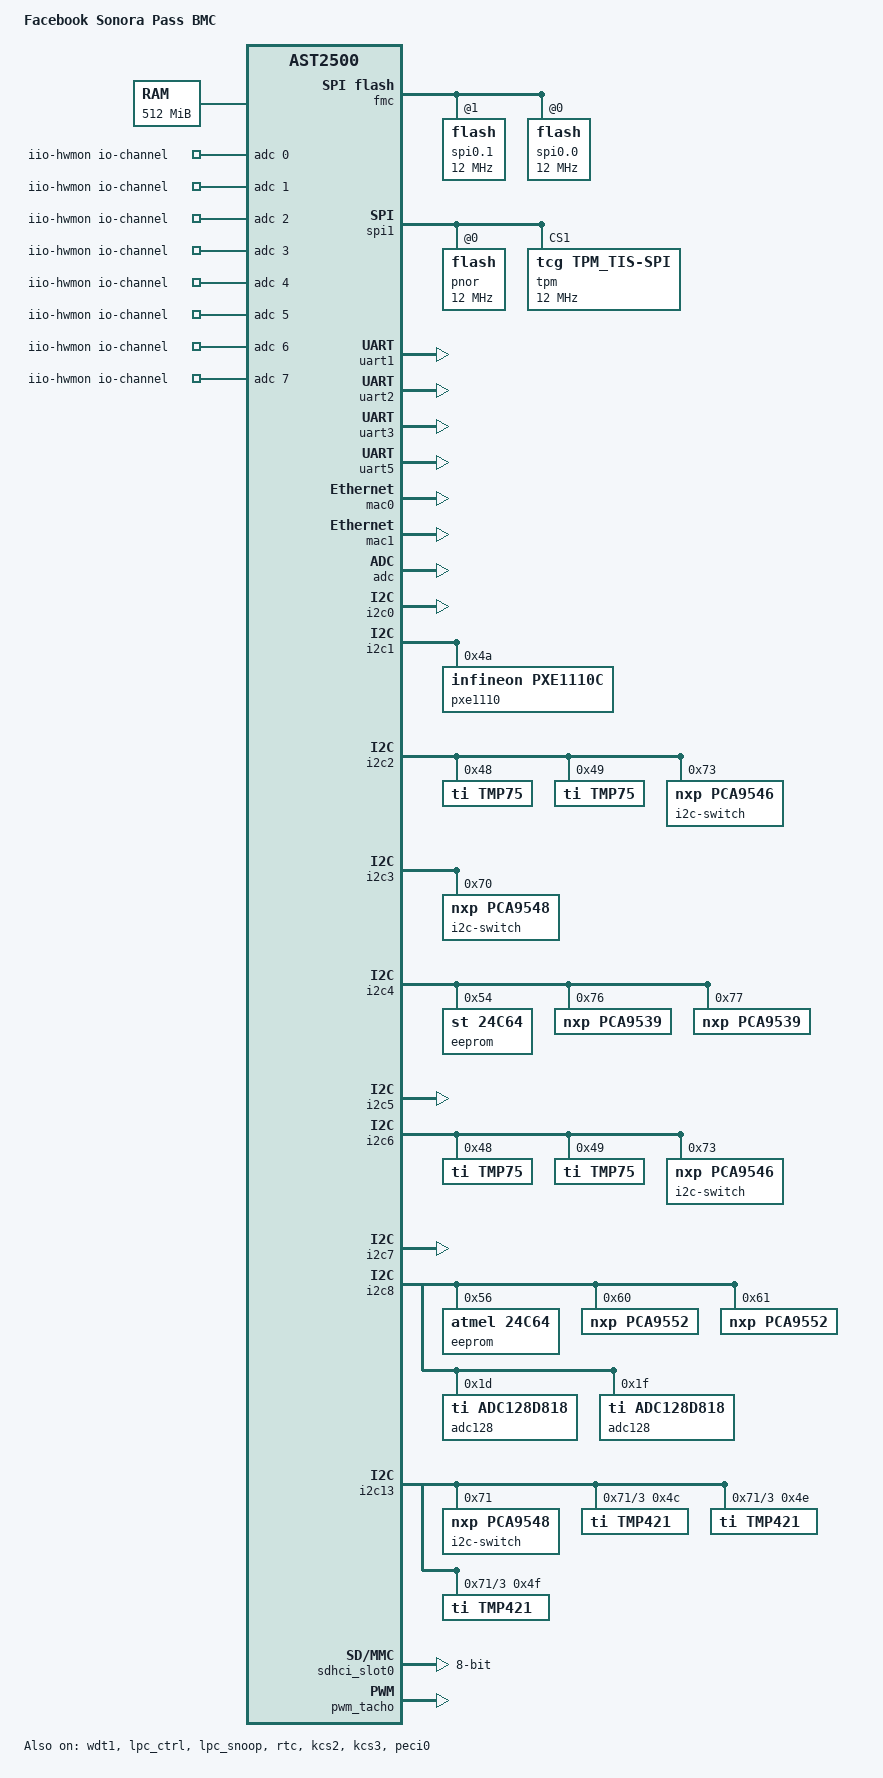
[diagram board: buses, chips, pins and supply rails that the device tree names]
// SPDX-License-Identifier: GPL-2.0+
// Copyright (c) 2018 Facebook Inc.
/dts-v1/;

#include "aspeed-g5.dtsi"
#include <dt-bindings/leds/leds-pca955x.h>

/ {
	model = "Facebook Sonora Pass BMC";
	compatible = "facebook,sonorapass-bmc", "aspeed,ast2500";

	aliases {
		/*
		 * Override the default serial aliases to avoid breaking
		 * the legacy applications.
		 */
		serial0 = &uart5;
		serial1 = &uart1;

		i2c16 = &imux16;
		i2c17 = &imux17;
		i2c18 = &imux18;
		i2c19 = &imux19;
		i2c20 = &imux20;
		i2c21 = &imux21;
		i2c22 = &imux22;
		i2c23 = &imux23;
		i2c24 = &imux24;
		i2c25 = &imux25;
		i2c26 = &imux26;
		i2c27 = &imux27;
		i2c28 = &imux28;
		i2c29 = &imux29;
		i2c30 = &imux30;
		i2c31 = &imux31;
		i2c32 = &imux32;
		i2c33 = &imux33;
		i2c34 = &imux34;
		i2c35 = &imux35;
	};

	chosen {
		stdout-path = &uart5;
		bootargs = "debug console=ttyS4,57600n8 root=/dev/ram rw";
	};

	memory@80000000 {
		reg = <0x80000000 0x20000000>;
	};

	iio-hwmon {
		compatible = "iio-hwmon";
		io-channels = <&adc 0>, <&adc 1>, <&adc 2>, <&adc 3>, <&adc 4>,
					<&adc 5>, <&adc 6>, <&adc 7>,<&adc 8>, <&adc 9>,
					<&adc 10>, <&adc 11>,<&adc 12>,<&adc 13>, <&adc 14>, <&adc 15>;
	};
};

&wdt1 {
	status = "okay";
	pinctrl-names = "default";
	pinctrl-0 = <&pinctrl_wdtrst1_default>;
	aspeed,reset-type = "soc";
	aspeed,external-signal;
	aspeed,ext-push-pull;
	aspeed,ext-active-high;
	aspeed,ext-pulse-duration = <256>;
};

&fmc {
	status = "okay";
	flash@0 {
		reg = < 1 >;
		status = "okay";
		m25p,fast-read;
		label = "spi0.1";
		spi-max-frequency = <12000000>;
#include "facebook-bmc-flash1-layout.dtsi"
	};
	flash@1 {
		reg = < 0 >;
		status = "okay";
		m25p,fast-read;
		label = "spi0.0";
		spi-max-frequency = <12000000>;
#include "facebook-bmc-pfr-flash0-layout.dtsi"
	};
};

&spi1 {
	status = "okay";

	compatible = "aspeed,ast2500-spi-master";

	pinctrl-names = "default";
	pinctrl-0 = <&pinctrl_spi1_default &pinctrl_spi1cs1_default>;

	flash@0 {
		status = "okay";
		m25p,fast-read;
		label = "pnor";
		spi-max-frequency = <12000000>;
	};
	tpm@1 {
		reg = < 1 >;
		compatible = "tcg,tpm_tis-spi";
		spi-max-frequency = <12000000>;
		status = "okay";
	};
};

&ibt {
	status = "disabled";
};

&lpc_ctrl {
	// Enable LPC clock
	status = "okay";
};

&lpc_snoop {
	status = "okay";
	snoop-ports = <0x80>;
};

&gpio {
	aspeed,skip-init-cmdsrc;
};

&rtc {
	status = "okay";
};

&uart1 {
	// Host Console
	resets = <>;
	status = "okay";
	pinctrl-names = "default";
	pinctrl-0 = <&pinctrl_txd1_default
		     &pinctrl_rxd1_default>;
};

&uart2 {
	// SOL Host Console
	resets = <>;
	status = "okay";
};

&uart3 {
	// SOL BMC Console
	status = "okay";
};

&uart5 {
	// BMC Console
	status = "okay";
};

&kcs2 {
	// BMC KCS channel 2
	status = "okay";
	kcs_addr = <0xca8>;
};

&kcs3 {
	// BMC KCS channel 3
	status = "okay";
	kcs_addr = <0xca2>;
};

&mac0 {
	status = "okay";
	no-hw-checksum;
	use-ncsi;
	ncsi-package = <2>;
	ncsi-channel = <2>;
	ncsi-rexmit = <1>;
};

&mac1 {
	status = "okay";
	no-hw-checksum;
	use-ncsi;
	ncsi-package = <2>;
	ncsi-channel = <2>;
	ncsi-rexmit = <1>;
};

&peci0 {
	status = "okay";
};

&adc {
	status = "okay";
};

&i2c0 {
	multi-master;
	status = "okay";
};

&i2c1 {
	status = "okay";
	pxe1110@4A {
		compatible = "infineon,pxe1110c";
		reg = <0x4a>;
	};
};

&i2c2 {
	multi-master;
	status = "okay";

	//AVA II card sensor
	tmp75@48 {
		compatible = "ti,tmp75";
		reg = <0x48>;
	};
	tmp75@49 {
		compatible = "ti,tmp75";
		reg = <0x49>;
	};

	i2c-switch@73 {
		compatible = "nxp,pca9546";
		#address-cells = <1>;
		#size-cells = <0>;
		reg = <0x73>;
		imux24: i2c@0 {
			#address-cells = <1>;
			#size-cells = <0>;
			reg = <0>;
		};
		imux25: i2c@1 {
			#address-cells = <1>;
			#size-cells = <0>;
			reg = <1>;
		};
		imux26: i2c@2 {
			#address-cells = <1>;
			#size-cells = <0>;
			reg = <2>;
		};
		imux27: i2c@3 {
			#address-cells = <1>;
			#size-cells = <0>;
			reg = <3>;
		};
	};
};

&i2c3 {
	status = "okay";
	i2c-switch@70 {
		compatible = "nxp,pca9548";
		#address-cells = <1>;
		#size-cells = <0>;
		reg = <0x70>;
		imux32: i2c@0 {
			#address-cells = <1>;
			#size-cells = <0>;
			reg = <0>;
		};
		imux33: i2c@1 {
			#address-cells = <1>;
			#size-cells = <0>;
			reg = <1>;
		};
		imux34: i2c@2 {
			#address-cells = <1>;
			#size-cells = <0>;
			reg = <2>;
		};
		imux35: i2c@3 {
			#address-cells = <1>;
			#size-cells = <0>;
			reg = <3>;
		};
	};
};

&i2c4 {
	status = "okay";
	eeprom@54 {
		compatible = "st,24c64";
		reg = <0x54>;
	};

	// I/O Expander
	pca9539@76 {
		compatible = "nxp,pca9539";
		reg = <0x76>;
	};
	pca9539@77 {
		compatible = "nxp,pca9539";
		reg = <0x77>;
	};
};

&i2c5 {
	multi-master;
	status = "okay";
};

&i2c6 {
	status = "okay";

	//AVA II card sensor
	tmp75@48 {
		compatible = "ti,tmp75";
		reg = <0x48>;
	};
	tmp75@49 {
		compatible = "ti,tmp75";
		reg = <0x49>;
	};

	i2c-switch@73 {
		compatible = "nxp,pca9546";
		#address-cells = <1>;
		#size-cells = <0>;
		reg = <0x73>;
		imux28: i2c@0 {
			#address-cells = <1>;
			#size-cells = <0>;
			reg = <0>;
		};
		imux29: i2c@1 {
			#address-cells = <1>;
			#size-cells = <0>;
			reg = <1>;
		};
		imux30: i2c@2 {
			#address-cells = <1>;
			#size-cells = <0>;
			reg = <2>;
		};
		imux31: i2c@3 {
			#address-cells = <1>;
			#size-cells = <0>;
			reg = <3>;
		};
	};
};

&i2c7 {
	status = "okay";
};

&i2c8 {
	status = "okay";
	//BSM FRU
	eeprom@56 {
		compatible = "atmel,24c64";
		reg = <0x56>;
	};

	pca9552@60 {
		compatible = "nxp,pca9552";
		reg = <0x60>;
		#address-cells = <1>;
		#size-cells = <0>;
		gpio-controller;
		#gpio-cells = <2>;

		// FM_FAN_POWER_LED_N
		led@0 {
			reg = <0>;
			type = <PCA955X_TYPE_GPIO>;
		};
		led@1 {
			reg = <1>;
			type = <PCA955X_TYPE_GPIO>;
		};
		led@2 {
			reg = <2>;
			type = <PCA955X_TYPE_GPIO>;
		};
		led@3 {
			reg = <3>;
			type = <PCA955X_TYPE_GPIO>;
		};
		// FM_FAN_FAULT_LED_N
		led@4 {
			reg = <4>;
			type = <PCA955X_TYPE_GPIO>;
		};
		led@5 {
			reg = <5>;
			type = <PCA955X_TYPE_GPIO>;
		};
		led@6 {
			reg = <6>;
			type = <PCA955X_TYPE_GPIO>;
		};
		led@7 {
			reg = <7>;
			type = <PCA955X_TYPE_GPIO>;
		};
		// FM_FAN_BUF_PRESENT_R
		gpio@8 {
			reg = <8>;
			type = <PCA955X_TYPE_GPIO>;
		};
		gpio@9 {
			reg = <9>;
			type = <PCA955X_TYPE_GPIO>;
		};
		gpio@10 {
			reg = <10>;
			type = <PCA955X_TYPE_GPIO>;
		};
		gpio@11 {
			reg = <11>;
			type = <PCA955X_TYPE_GPIO>;
		};
		// FM_FAN_P12V_EN
		gpio@12 {
			reg = <12>;
			type = <PCA955X_TYPE_GPIO>;
		};
		gpio@13 {
			reg = <13>;
			type = <PCA955X_TYPE_GPIO>;
		};
		gpio@14 {
			reg = <14>;
			type = <PCA955X_TYPE_GPIO>;
		};
		gpio@15 {
			reg = <15>;
			type = <PCA955X_TYPE_GPIO>;
		};
	};

	pca9552@61 {
		compatible = "nxp,pca9552";
		reg = <0x61>;
		#address-cells = <1>;
		#size-cells = <0>;
		gpio-controller;
		#gpio-cells = <2>;

		// FM_FAN_POWER_LED_N
		led@0 {
			reg = <0>;
			type = <PCA955X_TYPE_GPIO>;
		};
		led@1 {
			reg = <1>;
			type = <PCA955X_TYPE_GPIO>;
		};
		led@2 {
			reg = <2>;
			type = <PCA955X_TYPE_GPIO>;
		};
		led@3 {
			reg = <3>;
			type = <PCA955X_TYPE_GPIO>;
		};
		// FM_FAN_FAULT_LED_N
		led@4 {
			reg = <4>;
			type = <PCA955X_TYPE_GPIO>;
		};
		led@5 {
			reg = <5>;
			type = <PCA955X_TYPE_GPIO>;
		};
		led@6 {
			reg = <6>;
			type = <PCA955X_TYPE_GPIO>;
		};
		led@7 {
			reg = <7>;
			type = <PCA955X_TYPE_GPIO>;
		};
		// FM_FAN_BUF_PRESENT_R
		gpio@8 {
			reg = <8>;
			type = <PCA955X_TYPE_GPIO>;
		};
		gpio@9 {
			reg = <9>;
			type = <PCA955X_TYPE_GPIO>;
		};
		gpio@10 {
			reg = <10>;
			type = <PCA955X_TYPE_GPIO>;
		};
		gpio@11 {
			reg = <11>;
			type = <PCA955X_TYPE_GPIO>;
		};
		// FM_FAN_P12V_EN
		gpio@12 {
			reg = <12>;
			type = <PCA955X_TYPE_GPIO>;
		};
		gpio@13 {
			reg = <13>;
			type = <PCA955X_TYPE_GPIO>;
		};
		gpio@14 {
			reg = <14>;
			type = <PCA955X_TYPE_GPIO>;
		};
		gpio@15 {
			reg = <15>;
			type = <PCA955X_TYPE_GPIO>;
		};
	};

	// ADC128 for monitoring fan voltage/current
	adc128@1d {
		compatible = "ti,adc128d818";
		reg = <0x1d>;
		ti,mode = /bits/ 8 <1>;
	};

	adc128@1f {
		compatible = "ti,adc128d818";
		reg = <0x1f>;
		ti,mode = /bits/ 8 <1>;
	};
};

&i2c13 {
	status = "okay";
	i2c-switch@71 {
		compatible = "nxp,pca9548";
		#address-cells = <1>;
		#size-cells = <0>;
		reg = <0x71>;
		imux16: i2c@0 {
			#address-cells = <1>;
			#size-cells = <0>;
			reg = <0>;
		};

		imux17: i2c@1 {
			#address-cells = <1>;
			#size-cells = <0>;
			reg = <1>;
		};

		imux18: i2c@2 {
			#address-cells = <1>;
			#size-cells = <0>;
			reg = <2>;
		};

		imux19: i2c@3 {
			#address-cells = <1>;
			#size-cells = <0>;
			reg = <3>;
			tmp421@4c {
				compatible = "ti,tmp421";
				reg = <0x4c>;
			};
			tmp421@4e {
				compatible = "ti,tmp421";
				reg = <0x4e>;
			};
			tmp421@4f {
				compatible = "ti,tmp421";
				reg = <0x4f>;
			};
		};

		imux20: i2c@4 {
			#address-cells = <1>;
			#size-cells = <0>;
			reg = <4>;
		};

		imux21: i2c@5 {
			#address-cells = <1>;
			#size-cells = <0>;
			reg = <5>;
		};

		imux22: i2c@6 {
			#address-cells = <1>;
			#size-cells = <0>;
			reg = <6>;
		};

		imux23: i2c@7 {
			#address-cells = <1>;
			#size-cells = <0>;
			reg = <7>;
		};
	};
};

&sdhci_slot0 {
	// eMMC
	status = "okay";
	bus-width = <8>;
	pinctrl-names = "default";
	pinctrl-0 = <&pinctrl_sd1_default>;
};

&pwm_tacho {
	status = "okay";
	pinctrl-names = "default";
	pinctrl-0 = <&pinctrl_pwm0_default &pinctrl_pwm1_default>;
	fan@0 {
		reg = <0x00>;
		aspeed,fan-tach-ch = /bits/ 8 <0x00 0x01 0x02 0x03 0x04 0x05 0x06 0x07>;
		aspeed,pwm-typem-tach-mode = /bits/ 8 <0x00>;       // 00b: falling
		aspeed,pwm-typem-tach-unit = /bits/ 16 <0x1000>;    // 4096
		aspeed,pwm-typem-tach-clk-div = /bits/ 8 <0x00>;    // div 4
	};

	fan@1 {
		reg = <0x01>;
		aspeed,fan-tach-ch = /bits/ 8 <0x08 0x09 0x0a 0x0b 0x0c 0x0d 0x0e 0x0f>;
		aspeed,pwm-typem-tach-mode = /bits/ 8 <0x00>;
		aspeed,pwm-typem-tach-unit = /bits/ 16 <0x1000>;
		aspeed,pwm-typem-tach-clk-div = /bits/ 8 <0x00>;
	};
};
